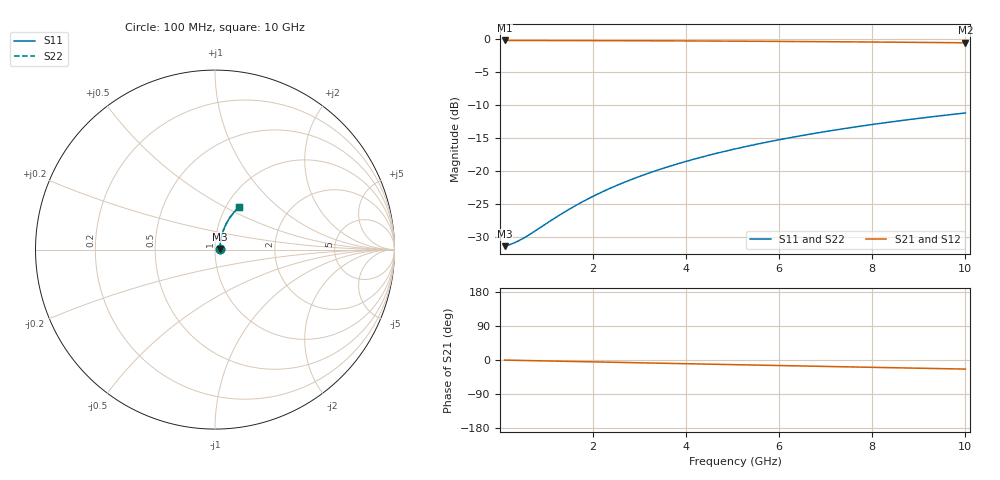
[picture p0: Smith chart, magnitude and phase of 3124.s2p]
# Hz S RI R 50.00
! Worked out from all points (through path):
!   100 points, 100 MHz to 10 GHz, reference 50 ohm
!   highest |S21| = -0.23 dB at 100 MHz (marker M1); lowest = -0.6 dB at 10 GHz (marker M2)
!   group delay of S21, straight-line fit = 6.67 ps
!   lowest |S11| = -31.5 dB at 100 MHz (marker M3), VSWR 1.05, Z = 52.7 + j0.293 ohm
!   |S11| at or under -10 dB: start of sweep to end of sweep
!   |S22| runs from -31.5 to -11.2 dB; largest |S21 - S12| = 0
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1e8  0.0266 0.00277  0.9734 -0.00418  0.9734 -0.00418  0.0266 0.00277
2e8  0.0268 0.00555  0.9732 -0.00836  0.9732 -0.00836  0.0268 0.00555
3e8  0.027 0.00832  0.973 -0.0125  0.973 -0.0125  0.027 0.00832
5e8  0.0274 0.0139  0.9726 -0.0209  0.9726 -0.0209  0.0274 0.0139
7e8  0.0278 0.0194  0.9721 -0.0292  0.9721 -0.0292  0.0278 0.0194
1.3e9  0.0295 0.0359  0.9703 -0.0542  0.9703 -0.0542  0.0295 0.0359
1.6e9  0.0307 0.0441  0.969 -0.0666  0.969 -0.0666  0.0307 0.0441
1.8e9  0.0316 0.0496  0.9681 -0.0749  0.9681 -0.0749  0.0316 0.0496
2.2e9  0.0336 0.0604  0.9659 -0.0914  0.9659 -0.0914  0.0336 0.0604
2.6e9  0.036 0.0712  0.9633 -0.1078  0.9633 -0.1078  0.036 0.0712
3e9  0.0387 0.0818  0.9604 -0.1241  0.9604 -0.1241  0.0387 0.0818
3.4e9  0.0418 0.0923  0.957 -0.1402  0.957 -0.1402  0.0418 0.0923
3.8e9  0.0452 0.1027  0.9533 -0.1563  0.9533 -0.1563  0.0452 0.1027
4.2e9  0.0489 0.113  0.9493 -0.1722  0.9493 -0.1722  0.0489 0.113
4.6e9  0.053 0.1231  0.9448 -0.1879  0.9448 -0.1879  0.053 0.1231
5.1e9  0.0586 0.1354  0.9387 -0.2073  0.9387 -0.2073  0.0586 0.1354
5.9e9  0.0685 0.1546  0.9279 -0.2378  0.9279 -0.2378  0.0685 0.1546
6.7e9  0.0796 0.1729  0.9158 -0.2674  0.9158 -0.2674  0.0796 0.1729
7.5e9  0.0917 0.1903  0.9025 -0.2962  0.9025 -0.2962  0.0917 0.1903
8.4e9  0.1066 0.2087  0.8861 -0.3274  0.8861 -0.3274  0.1066 0.2087
9.2e9  0.1208 0.224  0.8705 -0.354  0.8705 -0.354  0.1208 0.224
1e10  0.1358 0.2381  0.8539 -0.3795  0.8539 -0.3795  0.1358 0.2381
